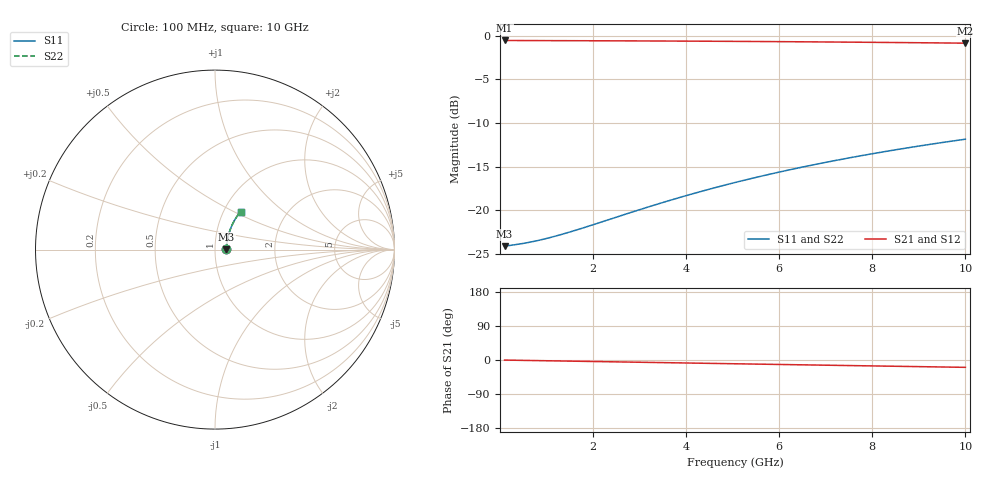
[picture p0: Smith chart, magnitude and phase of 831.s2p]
# Hz S RI R 50.00
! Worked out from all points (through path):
!   100 points, 100 MHz to 10 GHz, reference 50 ohm
!   highest |S21| = -0.56 dB at 100 MHz (marker M1); lowest = -0.9 dB at 10 GHz (marker M2)
!   group delay of S21, straight-line fit = 5.39 ps
!   lowest |S11| = -24.1 dB at 100 MHz (marker M3), VSWR 1.13, Z = 56.6 + j0.269 ohm
!   |S11| at or under -10 dB: start of sweep to end of sweep
!   |S22| runs from -24.1 to -11.9 dB; largest |S21 - S12| = 0
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1e8  0.0622 0.00236  0.9378 -0.00324  0.9378 -0.00324  0.0622 0.00236
5e8  0.0634 0.0118  0.9366 -0.0162  0.9366 -0.0162  0.0634 0.0118
7e8  0.0639 0.0165  0.936 -0.0226  0.936 -0.0226  0.0639 0.0165
9e8  0.0645 0.0212  0.9355 -0.0291  0.9355 -0.0291  0.0645 0.0212
1.1e9  0.065 0.0259  0.9349 -0.0355  0.9349 -0.0355  0.065 0.0259
1.3e9  0.0656 0.0305  0.9343 -0.042  0.9343 -0.042  0.0656 0.0305
1.8e9  0.0672 0.0422  0.9326 -0.058  0.9326 -0.058  0.0672 0.0422
2.9e9  0.072 0.0675  0.9276 -0.093  0.9276 -0.093  0.072 0.0675
3.4e9  0.0748 0.0788  0.9248 -0.1088  0.9248 -0.1088  0.0748 0.0788
3.9e9  0.0778 0.09  0.9215 -0.1244  0.9215 -0.1244  0.0778 0.09
4.3e9  0.0806 0.0989  0.9186 -0.1368  0.9186 -0.1368  0.0806 0.0989
4.7e9  0.0835 0.1077  0.9155 -0.1491  0.9155 -0.1491  0.0835 0.1077
5.1e9  0.0867 0.1163  0.9122 -0.1613  0.9122 -0.1613  0.0867 0.1163
5.5e9  0.0901 0.1249  0.9086 -0.1734  0.9086 -0.1734  0.0901 0.1249
5.9e9  0.0938 0.1333  0.9048 -0.1854  0.9048 -0.1854  0.0938 0.1333
6.3e9  0.0976 0.1417  0.9008 -0.1973  0.9008 -0.1973  0.0976 0.1417
6.7e9  0.1017 0.1499  0.8965 -0.209  0.8965 -0.209  0.1017 0.1499
7.5e9  0.1104 0.1658  0.8873 -0.2321  0.8873 -0.2321  0.1104 0.1658
7.9e9  0.115 0.1736  0.8824 -0.2434  0.8824 -0.2434  0.115 0.1736
8.4e9  0.1211 0.1831  0.876 -0.2573  0.876 -0.2573  0.1211 0.1831
9.2e9  0.1313 0.1977  0.8652 -0.2791  0.8652 -0.2791  0.1313 0.1977
1e10  0.1423 0.2117  0.8536 -0.3002  0.8536 -0.3002  0.1423 0.2117
